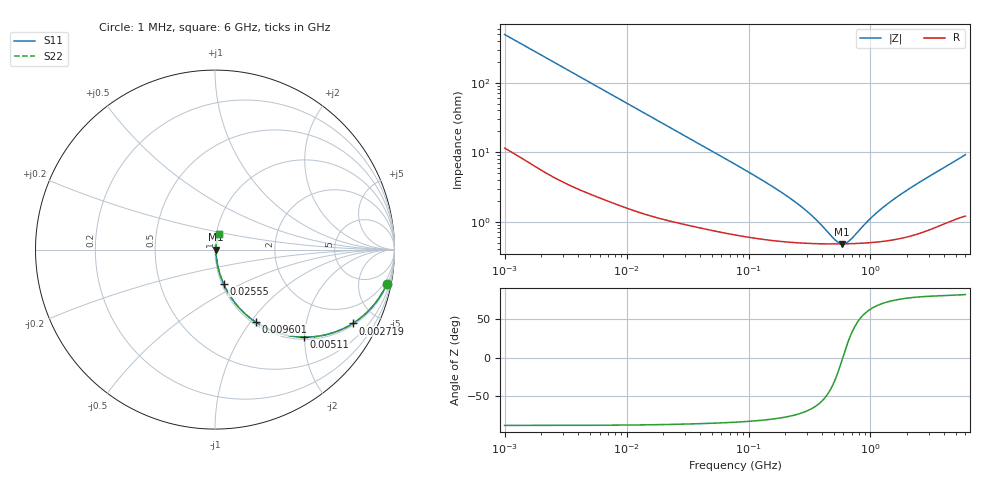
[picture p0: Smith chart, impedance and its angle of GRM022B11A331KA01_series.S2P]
!Murata Part Number: GRM022B11A331KA01
!These Parameters are Measured in Series Mode Connection
!  o--ll--o
!Port1  Port2
!  o------o
!Operation Temp=25[C], DC Bias Voltage=0[V]
!Freq. Start=1[MHz] Stop=6[GHz], 401[Steps]
# Hz S RI R 50
!Freq.(Hz)	S 11(Real)	S 11(Imag)	S 21(Real)	S 21(Imag)	S 12(Real)	S 12(Imag)	S 22(Real)	S 22(Imag)
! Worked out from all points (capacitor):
!   401 points, 1 MHz to 6 GHz, reference 50 ohm
!   read as one part in series: C = 321 pF near 1.044 MHz
!   lowest |Z| = 480 mohm at 585.5 MHz (marker M1)
!   series resonance near 592.9 MHz, so ESL is about 220 pH
!   S11 on the Smith chart (normalised r, x): 1 MHz: 1.23, -9.88; 2.719 MHz: 1.08, -3.68; 5.11 MHz: 1.05, -1.97; 9.601 MHz: 1.03, -1.06; 25.55 MHz: 1.02, -0.40; 6 GHz: 1.02, +0.18
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1000000  0.9565 -0.1927  0.0435 0.1927  0.0435 0.1927  0.9565 -0.1927
1722402  0.8879 -0.3045  0.1121 0.3045  0.1121 0.3045  0.8879 -0.3045
2719490  0.7674 -0.4116  0.2326 0.4116  0.2326 0.4116  0.7674 -0.4116
4293785  0.5769 -0.4823  0.4231 0.4823  0.4231 0.4823  0.5769 -0.4823
5109794  0.4936 -0.4877  0.5064 0.4877  0.5064 0.4877  0.4936 -0.4877
6779431  0.3614 -0.467  0.6386 0.467  0.6386 0.467  0.3614 -0.467
9601063  0.2259 -0.4032  0.7741 0.4032  0.7741 0.4032  0.2259 -0.4032
1.301831e7  0.1415 -0.3319  0.8585 0.3319  0.8585 0.3319  0.1415 -0.3319
1.843659e7  0.0805 -0.2526  0.9195 0.2526  0.9195 0.2526  0.0805 -0.2526
2.554826e7  0.0475 -0.1899  0.9525 0.1899  0.9525 0.1899  0.0475 -0.1899
4.305766e7  0.0218 -0.1167  0.9782 0.1167  0.9782 0.1167  0.0218 -0.1167
7.745967e7  0.0108 -0.0657  0.9892 0.0657  0.9892 0.0657  0.0108 -0.0657
1.889453e8  0.00578 -0.0252  0.9942 0.0252  0.9942 0.0252  0.00578 -0.0252
3.325952e8  0.00495 -0.011  0.9951 0.011  0.9951 0.011  0.00495 -0.011
5.138348e8  0.00477 -0.00259  0.9952 0.00259  0.9952 0.00259  0.00477 -0.00259
5.854581e8  0.00477 -0.000226  0.9952 0.000226  0.9952 0.000226  0.00477 -0.000226
6.249308e8  0.00478 0.000951  0.9952 -0.000951  0.9952 -0.000951  0.00478 0.000951
6.817316e8  0.00481 0.00253  0.9952 -0.00253  0.9952 -0.00253  0.00481 0.00253
1.008394e9  0.00508 0.01  0.9949 -0.01  0.9949 -0.01  0.00508 0.01
1.428092e9  0.00565 0.0179  0.9943 -0.0179  0.9943 -0.0179  0.00565 0.0179
2.459749e9  0.00786 0.0348  0.9921 -0.0348  0.9921 -0.0348  0.00786 0.0348
6e9  0.0199 0.0886  0.9801 -0.0886  0.9801 -0.0886  0.0199 0.0886
